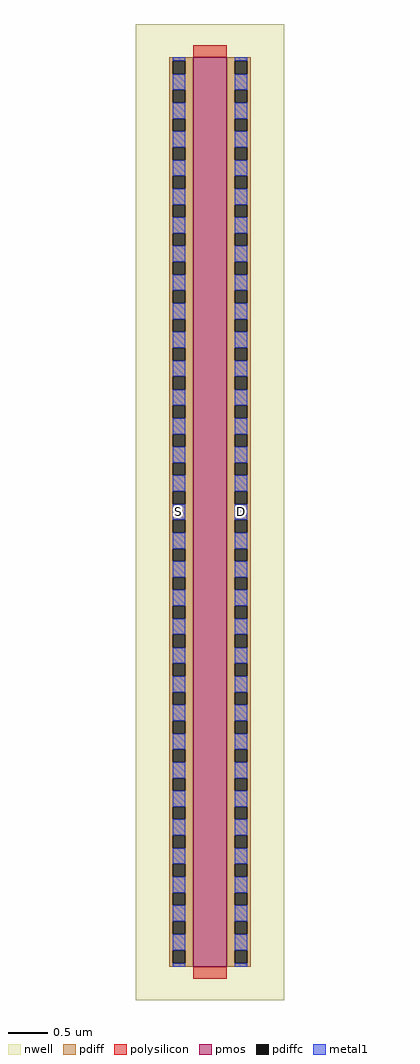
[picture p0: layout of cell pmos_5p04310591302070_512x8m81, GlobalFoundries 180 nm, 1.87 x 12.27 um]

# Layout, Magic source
magic
tech gf180mcuD
magscale 1 10
<< nwell >>
rect -145 -84 229 2370
<< pmos >>
rect 0 0 84 2286
<< pdiff >>
rect -61 2277 0 2286
rect -61 2244 -52 2277
rect -20 2244 0 2277
rect -61 2205 0 2244
rect -61 2172 -52 2205
rect -20 2172 0 2205
rect -61 2132 0 2172
rect -61 2100 -52 2132
rect -20 2100 0 2132
rect -61 2060 0 2100
rect -61 2028 -52 2060
rect -20 2028 0 2060
rect -61 1988 0 2028
rect -61 1956 -52 1988
rect -20 1956 0 1988
rect -61 1916 0 1956
rect -61 1884 -52 1916
rect -20 1884 0 1916
rect -61 1844 0 1884
rect -61 1812 -52 1844
rect -20 1812 0 1844
rect -61 1772 0 1812
rect -61 1740 -52 1772
rect -20 1740 0 1772
rect -61 1700 0 1740
rect -61 1668 -52 1700
rect -20 1668 0 1700
rect -61 1628 0 1668
rect -61 1596 -52 1628
rect -20 1596 0 1628
rect -61 1556 0 1596
rect -61 1523 -52 1556
rect -20 1523 0 1556
rect -61 1484 0 1523
rect -61 1451 -52 1484
rect -20 1451 0 1484
rect -61 1411 0 1451
rect -61 1379 -52 1411
rect -20 1379 0 1411
rect -61 1339 0 1379
rect -61 1307 -52 1339
rect -20 1307 0 1339
rect -61 1267 0 1307
rect -61 1235 -52 1267
rect -20 1235 0 1267
rect -61 1195 0 1235
rect -61 1163 -52 1195
rect -20 1163 0 1195
rect -61 1123 0 1163
rect -61 1091 -52 1123
rect -20 1091 0 1123
rect -61 1051 0 1091
rect -61 1019 -52 1051
rect -20 1019 0 1051
rect -61 979 0 1019
rect -61 947 -52 979
rect -20 947 0 979
rect -61 907 0 947
rect -61 875 -52 907
rect -20 875 0 907
rect -61 835 0 875
rect -61 802 -52 835
rect -20 802 0 835
rect -61 763 0 802
rect -61 730 -52 763
rect -20 730 0 763
rect -61 690 0 730
rect -61 658 -52 690
rect -20 658 0 690
rect -61 618 0 658
rect -61 586 -52 618
rect -20 586 0 618
rect -61 546 0 586
rect -61 514 -52 546
rect -20 514 0 546
rect -61 474 0 514
rect -61 442 -52 474
rect -20 442 0 474
rect -61 402 0 442
rect -61 370 -52 402
rect -20 370 0 402
rect -61 330 0 370
rect -61 298 -52 330
rect -20 298 0 330
rect -61 258 0 298
rect -61 226 -52 258
rect -20 226 0 258
rect -61 186 0 226
rect -61 154 -52 186
rect -20 154 0 186
rect -61 114 0 154
rect -61 81 -52 114
rect -20 81 0 114
rect -61 41 0 81
rect -61 9 -52 41
rect -20 9 0 41
rect -61 0 0 9
rect 84 2277 145 2286
rect 84 2244 104 2277
rect 136 2244 145 2277
rect 84 2205 145 2244
rect 84 2172 104 2205
rect 136 2172 145 2205
rect 84 2132 145 2172
rect 84 2100 104 2132
rect 136 2100 145 2132
rect 84 2060 145 2100
rect 84 2028 104 2060
rect 136 2028 145 2060
rect 84 1988 145 2028
rect 84 1956 104 1988
rect 136 1956 145 1988
rect 84 1916 145 1956
rect 84 1884 104 1916
rect 136 1884 145 1916
rect 84 1844 145 1884
rect 84 1812 104 1844
rect 136 1812 145 1844
rect 84 1772 145 1812
rect 84 1740 104 1772
rect 136 1740 145 1772
rect 84 1700 145 1740
rect 84 1668 104 1700
rect 136 1668 145 1700
rect 84 1628 145 1668
rect 84 1596 104 1628
rect 136 1596 145 1628
rect 84 1556 145 1596
rect 84 1523 104 1556
rect 136 1523 145 1556
rect 84 1484 145 1523
rect 84 1451 104 1484
rect 136 1451 145 1484
rect 84 1411 145 1451
rect 84 1379 104 1411
rect 136 1379 145 1411
rect 84 1339 145 1379
rect 84 1307 104 1339
rect 136 1307 145 1339
rect 84 1267 145 1307
rect 84 1235 104 1267
rect 136 1235 145 1267
rect 84 1195 145 1235
rect 84 1163 104 1195
rect 136 1163 145 1195
rect 84 1123 145 1163
rect 84 1091 104 1123
rect 136 1091 145 1123
rect 84 1051 145 1091
rect 84 1019 104 1051
rect 136 1019 145 1051
rect 84 979 145 1019
rect 84 947 104 979
rect 136 947 145 979
rect 84 907 145 947
rect 84 875 104 907
rect 136 875 145 907
rect 84 835 145 875
rect 84 802 104 835
rect 136 802 145 835
rect 84 763 145 802
rect 84 730 104 763
rect 136 730 145 763
rect 84 690 145 730
rect 84 658 104 690
rect 136 658 145 690
rect 84 618 145 658
rect 84 586 104 618
rect 136 586 145 618
rect 84 546 145 586
rect 84 514 104 546
rect 136 514 145 546
rect 84 474 145 514
rect 84 442 104 474
rect 136 442 145 474
rect 84 402 145 442
rect 84 370 104 402
rect 136 370 145 402
rect 84 330 145 370
rect 84 298 104 330
rect 136 298 145 330
rect 84 258 145 298
rect 84 226 104 258
rect 136 226 145 258
rect 84 186 145 226
rect 84 154 104 186
rect 136 154 145 186
rect 84 114 145 154
rect 84 81 104 114
rect 136 81 145 114
rect 84 41 145 81
rect 84 9 104 41
rect 136 9 145 41
rect 84 0 145 9
<< pdiffc >>
rect -52 2244 -20 2277
rect -52 2172 -20 2205
rect -52 2100 -20 2132
rect -52 2028 -20 2060
rect -52 1956 -20 1988
rect -52 1884 -20 1916
rect -52 1812 -20 1844
rect -52 1740 -20 1772
rect -52 1668 -20 1700
rect -52 1596 -20 1628
rect -52 1523 -20 1556
rect -52 1451 -20 1484
rect -52 1379 -20 1411
rect -52 1307 -20 1339
rect -52 1235 -20 1267
rect -52 1163 -20 1195
rect -52 1091 -20 1123
rect -52 1019 -20 1051
rect -52 947 -20 979
rect -52 875 -20 907
rect -52 802 -20 835
rect -52 730 -20 763
rect -52 658 -20 690
rect -52 586 -20 618
rect -52 514 -20 546
rect -52 442 -20 474
rect -52 370 -20 402
rect -52 298 -20 330
rect -52 226 -20 258
rect -52 154 -20 186
rect -52 81 -20 114
rect -52 9 -20 41
rect 104 2244 136 2277
rect 104 2172 136 2205
rect 104 2100 136 2132
rect 104 2028 136 2060
rect 104 1956 136 1988
rect 104 1884 136 1916
rect 104 1812 136 1844
rect 104 1740 136 1772
rect 104 1668 136 1700
rect 104 1596 136 1628
rect 104 1523 136 1556
rect 104 1451 136 1484
rect 104 1379 136 1411
rect 104 1307 136 1339
rect 104 1235 136 1267
rect 104 1163 136 1195
rect 104 1091 136 1123
rect 104 1019 136 1051
rect 104 947 136 979
rect 104 875 136 907
rect 104 802 136 835
rect 104 730 136 763
rect 104 658 136 690
rect 104 586 136 618
rect 104 514 136 546
rect 104 442 136 474
rect 104 370 136 402
rect 104 298 136 330
rect 104 226 136 258
rect 104 154 136 186
rect 104 81 136 114
rect 104 9 136 41
<< polysilicon >>
rect 0 2286 84 2317
rect 0 -30 84 0
<< metal1 >>
rect -52 2277 -20 2286
rect -52 2205 -20 2244
rect -52 2132 -20 2172
rect -52 2060 -20 2100
rect -52 1988 -20 2028
rect -52 1916 -20 1956
rect -52 1844 -20 1884
rect -52 1772 -20 1812
rect -52 1700 -20 1740
rect -52 1628 -20 1668
rect -52 1556 -20 1596
rect -52 1484 -20 1523
rect -52 1411 -20 1451
rect -52 1339 -20 1379
rect -52 1267 -20 1307
rect -52 1195 -20 1235
rect -52 1123 -20 1163
rect -52 1051 -20 1091
rect -52 979 -20 1019
rect -52 907 -20 947
rect -52 835 -20 875
rect -52 763 -20 802
rect -52 690 -20 730
rect -52 618 -20 658
rect -52 546 -20 586
rect -52 474 -20 514
rect -52 402 -20 442
rect -52 330 -20 370
rect -52 258 -20 298
rect -52 186 -20 226
rect -52 114 -20 154
rect -52 41 -20 81
rect -52 0 -20 9
rect 104 2277 136 2286
rect 104 2205 136 2244
rect 104 2132 136 2172
rect 104 2060 136 2100
rect 104 1988 136 2028
rect 104 1916 136 1956
rect 104 1844 136 1884
rect 104 1772 136 1812
rect 104 1700 136 1740
rect 104 1628 136 1668
rect 104 1556 136 1596
rect 104 1484 136 1523
rect 104 1411 136 1451
rect 104 1339 136 1379
rect 104 1267 136 1307
rect 104 1195 136 1235
rect 104 1123 136 1163
rect 104 1051 136 1091
rect 104 979 136 1019
rect 104 907 136 947
rect 104 835 136 875
rect 104 763 136 802
rect 104 690 136 730
rect 104 618 136 658
rect 104 546 136 586
rect 104 474 136 514
rect 104 402 136 442
rect 104 330 136 370
rect 104 258 136 298
rect 104 186 136 226
rect 104 114 136 154
rect 104 41 136 81
rect 104 0 136 9
<< labels >>
flabel metal1 -36 1143 -36 1143 0 FreeSans 280 0 0 0 S
flabel metal1 120 1143 120 1143 0 FreeSans 280 0 0 0 D
<< end >>
